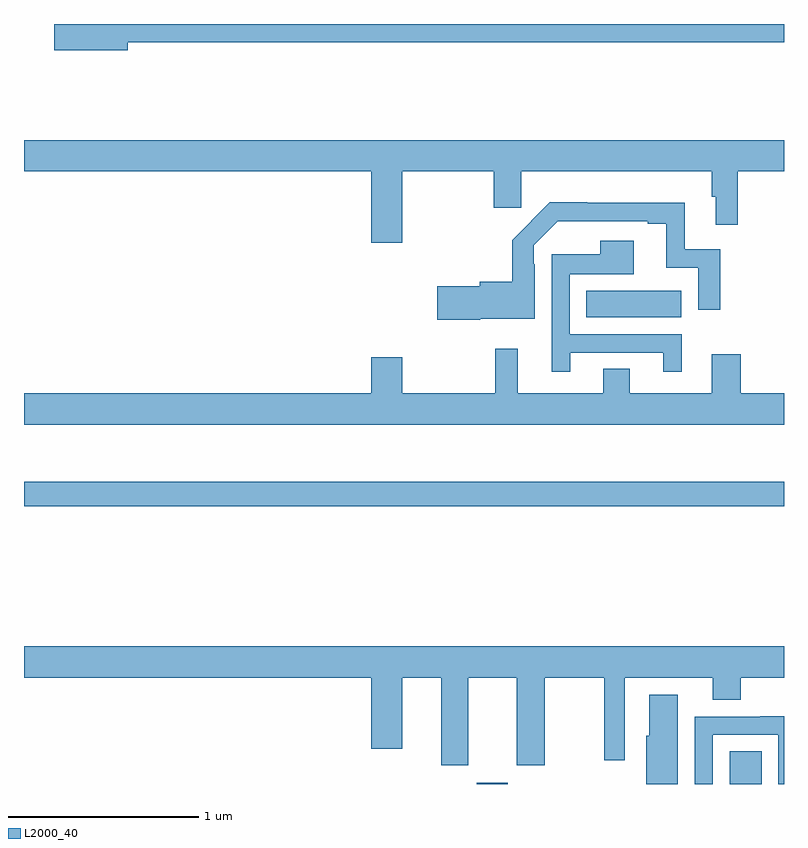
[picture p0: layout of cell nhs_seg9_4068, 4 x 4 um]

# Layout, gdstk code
import gdstk
lib = gdstk.Library(unit=1e-6, precision=1e-09)
def R(c, l, rs):  # rectangles x0, y0, x1, y1
    for r in rs: c.add(gdstk.rectangle(r[:2], r[2:], *l))
def P(c, l, *ps):  # polygons
    for p in ps: c.add(gdstk.Polygon(p, *l))
L2000_40 = (2000, 40)

nhs_seg9_4068 = lib.new_cell('nhs_seg9_4068')
R(nhs_seg9_4068, L2000_40, [(345.383,1222.5,345.547,1222.507), (346.715,1222.5,346.882,1222.673), (343,1223.962,347,1224.091), (345.958,1224.956,346.459,1225.096)])
P(nhs_seg9_4068, L2000_40, [(343.546,1226.404),(347,1226.404),(347,1226.5),(343.158,1226.5),(343.158,1226.362),(343.546,1226.362)],
  [(344.992,1225.724),(345.472,1225.724),(345.472,1225.533),(345.617,1225.533),(345.617,1225.724),(346.621,1225.724),(346.621,1225.592),(346.64,1225.592),(346.64,1225.443),(346.757,1225.443),(346.757,1225.724),(347,1225.724),(347,1225.888),(343,1225.888),(343,1225.724),(344.828,1225.724),(344.828,1225.35),(344.992,1225.35)],
  [(345.402,1224.95),(345.687,1224.95),(345.687,1225.235),(345.684,1225.235),(345.684,1225.335),(345.81,1225.461),(346.283,1225.461),(346.283,1225.449),(346.379,1225.449),(346.379,1225.218),(346.548,1225.218),(346.548,1224.996),(346.664,1224.996),(346.664,1225.314),(346.477,1225.314),(346.477,1225.558),(345.965,1225.558),(345.965,1225.561),(345.766,1225.561),(345.569,1225.363),(345.569,1225.144),(345.398,1225.144),(345.398,1225.121),(345.174,1225.121),(345.174,1224.943),(345.402,1224.943)],
  [(345.874,1224.771),(346.364,1224.771),(346.364,1224.669),(346.462,1224.669),(346.462,1224.867),(345.873,1224.867),(345.873,1225.184),(346.21,1225.184),(346.21,1225.36),(346.034,1225.36),(346.034,1225.288),(345.777,1225.288),(345.777,1224.669),(345.874,1224.669)],
  [(347,1224.556),(346.772,1224.556),(346.772,1224.763),(346.619,1224.763),(346.619,1224.556),(346.189,1224.556),(346.189,1224.686),(346.049,1224.686),(346.049,1224.556),(345.599,1224.556),(345.599,1224.79),(345.481,1224.79),(345.481,1224.556),(344.992,1224.556),(344.992,1224.745),(344.828,1224.745),(344.828,1224.556),(343,1224.556),(343,1224.392),(347,1224.392)],
  [(345.337,1223.06),(345.593,1223.06),(345.593,1222.599),(345.741,1222.599),(345.741,1223.06),(346.053,1223.06),(346.053,1222.626),(346.162,1222.626),(346.162,1223.06),(346.625,1223.06),(346.625,1222.943),(346.773,1222.943),(346.773,1223.06),(347,1223.06),(347,1223.224),(343,1223.224),(343,1223.06),(344.828,1223.06),(344.828,1222.686),(344.992,1222.686),(344.992,1223.06),(345.197,1223.06),(345.197,1222.599),(345.337,1222.599)],
  [(346.441,1222.969),(346.292,1222.969),(346.292,1222.755),(346.274,1222.755),(346.274,1222.5),(346.441,1222.5)],
  [(346.626,1222.758),(346.971,1222.758),(346.971,1222.5),(347,1222.5),(347,1222.856),(346.874,1222.856),(346.874,1222.854),(346.53,1222.854),(346.53,1222.5),(346.626,1222.5)])

lib.write_gds('nhs_seg9_4068.gds')
